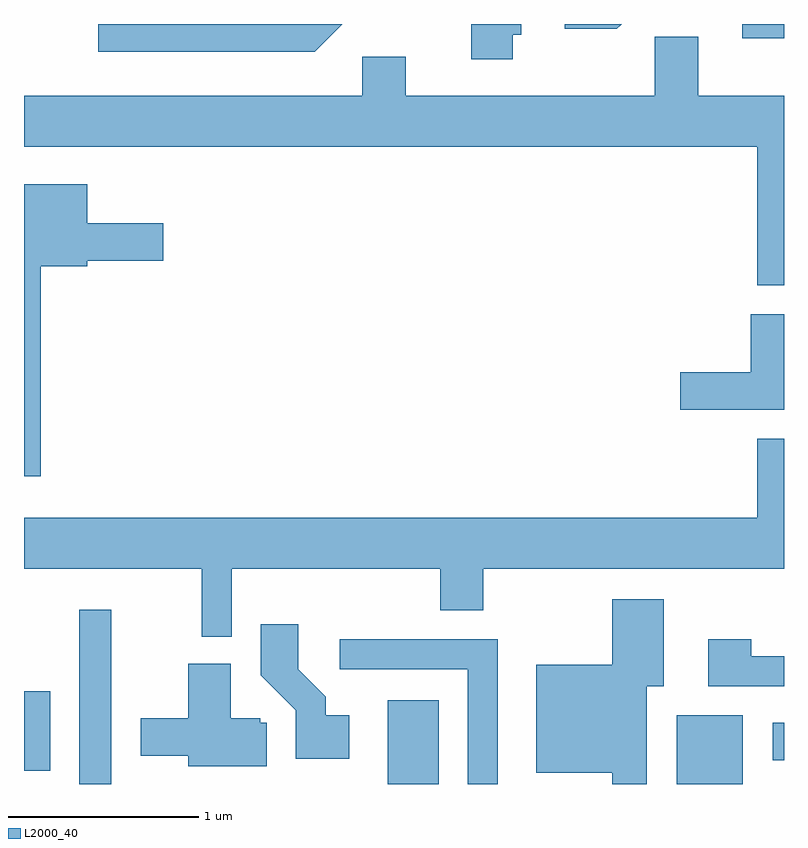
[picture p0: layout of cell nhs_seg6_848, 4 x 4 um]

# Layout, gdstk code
import gdstk
lib = gdstk.Library(unit=1e-6, precision=1e-09)
def R(c, l, rs):  # rectangles x0, y0, x1, y1
    for r in rs: c.add(gdstk.rectangle(r[:2], r[2:], *l))
def P(c, l, *ps):  # polygons
    for p in ps: c.add(gdstk.Polygon(p, *l))
L2000_40 = (2000, 40)

nhs_seg6_848 = lib.new_cell('nhs_seg6_848')
R(nhs_seg6_848, L2000_40, [(209.901,1622.162,210.069,1623.078), (211.526,1622.162,211.794,1622.604), (213.046,1622.162,213.394,1622.524), (209.611,1622.231,209.749,1622.649), (213.551,1622.286,213.611,1622.484), (213.391,1626.086,213.611,1626.162)])
P(nhs_seg6_848, L2000_40, [(211.287,1626.162),(210.003,1626.162),(210.003,1626.016),(211.142,1626.016)],
  [(212.184,1626.106),(212.229,1626.106),(212.229,1626.162),(211.966,1626.162),(211.966,1625.976),(212.184,1625.976)],
  [(212.758,1626.162),(212.458,1626.162),(212.458,1626.136),(212.732,1626.136)],
  [(213.611,1625.784),(213.159,1625.784),(213.159,1626.094),(212.931,1626.094),(212.931,1625.784),(211.619,1625.784),(211.619,1625.989),(211.391,1625.989),(211.391,1625.784),(209.611,1625.784),(209.611,1625.516),(213.471,1625.516),(213.471,1624.786),(213.611,1624.786)],
  [(209.699,1624.886),(209.944,1624.886),(209.944,1624.916),(210.344,1624.916),(210.344,1625.114),(209.944,1625.114),(209.944,1625.319),(209.611,1625.319),(209.611,1623.783),(209.699,1623.783)],
  [(213.611,1624.634),(213.436,1624.634),(213.436,1624.329),(213.066,1624.329),(213.066,1624.131),(213.611,1624.131)],
  [(210.704,1623.296),(211.801,1623.296),(211.801,1623.076),(212.029,1623.076),(212.029,1623.296),(213.611,1623.296),(213.611,1623.979),(213.471,1623.979),(213.471,1623.564),(209.611,1623.564),(209.611,1623.296),(210.546,1623.296),(210.546,1622.938),(210.704,1622.938)],
  [(212.889,1622.676),(212.979,1622.676),(212.979,1623.134),(212.706,1623.134),(212.706,1622.789),(212.306,1622.789),(212.306,1622.221),(212.706,1622.221),(212.706,1622.162),(212.889,1622.162)],
  [(211.324,1622.524),(211.199,1622.524),(211.199,1622.622),(211.054,1622.767),(211.054,1623.004),(210.856,1623.004),(210.856,1622.734),(211.041,1622.549),(211.041,1622.296),(211.324,1622.296)],
  [(212.104,1622.924),(211.273,1622.924),(211.273,1622.766),(211.946,1622.766),(211.946,1622.162),(212.104,1622.162)],
  [(213.611,1622.834),(213.439,1622.834),(213.439,1622.924),(213.211,1622.924),(213.211,1622.676),(213.611,1622.676)],
  [(210.889,1622.484),(210.854,1622.484),(210.854,1622.509),(210.699,1622.509),(210.699,1622.794),(210.476,1622.794),(210.476,1622.509),(210.226,1622.509),(210.226,1622.311),(210.476,1622.311),(210.476,1622.256),(210.889,1622.256)])

lib.write_gds('nhs_seg6_848.gds')
